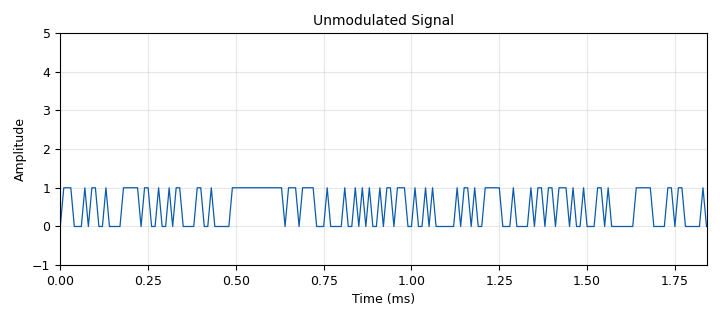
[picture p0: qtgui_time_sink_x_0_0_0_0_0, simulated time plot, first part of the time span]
options:
  parameters:
    author: Arsalan Ahmed
    generate_options: qt_gui
    id: PAM_Demodulator_BER_Example
    output_language: python
    title: Example of PAM Demodulator showing BER
  states: {}

blocks:
- name: Max
  id: variable_function_probe
  parameters:
    block_id: maximum
    function_name: level
    poll_rate: '10'
    value: '1'
  states: {}
- name: Maximum_value
  id: variable_qtgui_label
  parameters:
    type: real
    value: Max
  states: {}
- name: Min
  id: variable_function_probe
  parameters:
    block_id: minimum
    function_name: level
    poll_rate: '10'
    value: '0'
  states: {}
- name: Minimum_value
  id: variable_qtgui_label
  parameters:
    type: real
    value: Min
  states: {}
- name: max_magnitude
  id: variable
  parameters:
    value: '4'
  states: {}
- name: min_magnitude
  id: variable
  parameters:
    value: '2'
  states: {}
- name: modulation_order
  id: variable
  parameters:
    value: '8'
  states: {}
- name: samp_rate
  id: variable
  parameters:
    value: 100e3
  states: {}
- name: samples_per_symbol
  id: variable
  parameters:
    value: '5'
  states: {}
- name: window_size
  id: variable
  parameters:
    value: '400'
  states: {}
- name: analog_random_source_x_0
  id: analog_random_source_x
  parameters:
    max: '256'
    min: '0'
    num_samps: '1000'
    repeat: 'True'
    type: byte
  states: {}
- name: blocks_float_to_uchar_0
  id: blocks_float_to_uchar
  parameters: {}
  states: {}
- name: blocks_max_xx_0
  id: blocks_max_xx
  parameters:
    type: float
    vlen: window_size
    vlen_out: '1'
  states: {}
- name: blocks_min_xx_0
  id: blocks_min_xx
  parameters:
    type: float
    vlen: window_size
    vlen_out: '1'
  states: {}
- name: blocks_multiply_const_vxx_0
  id: blocks_multiply_const_vxx
  parameters:
    const: '1'
    type: float
  states: {}
- name: blocks_pack_k_bits_bb_0
  id: blocks_pack_k_bits_bb
  parameters:
    k: '8'
  states: {}
- name: blocks_stream_to_vector_0
  id: blocks_stream_to_vector
  parameters:
    num_items: window_size
    type: float
  states: {}
- name: blocks_stream_to_vector_0_0
  id: blocks_stream_to_vector
  parameters:
    num_items: window_size
    type: float
  states: {}
- name: blocks_throttle_0
  id: blocks_throttle
  parameters:
    samples_per_second: samp_rate
    type: float
  states: {}
- name: blocks_uchar_to_float_1
  id: blocks_uchar_to_float
  parameters: {}
  states: {}
- name: blocks_unpack_k_bits_bb_0
  id: blocks_unpack_k_bits_bb
  parameters:
    k: '8'
  states: {}
- name: fec_ber_bf_0
  id: fec_ber_bf
  parameters:
    test_mode: 'False'
  states: {}
- name: maximum
  id: blocks_probe_signal_x
  parameters:
    type: float
  states: {}
- name: minimum
  id: blocks_probe_signal_x
  parameters:
    type: float
  states: {}
- name: note_0
  id: note
  parameters:
    note: The input stream should contain the possible max and min values for accurate demodulation.
  states: {}
- name: owc_PAM_Demodulator_0
  id: owc_PAM_Demodulator
  parameters:
    max_mag: Max
    min_mag: Min
    mod_order: modulation_order
    samples_per_symbol: samples_per_symbol
  states: {}
- name: owc_PAM_Modulator_one_0
  id: owc_PAM_Modulator_one
  parameters:
    max_mag: max_magnitude
    min_mag: min_magnitude
    mod_order: modulation_order
    samples_per_symbol: samples_per_symbol
  states: {}
- name: owc_binary_to_decimal_mapper_0
  id: owc_binary_to_decimal_mapper
  parameters:
    mod_order: modulation_order
  states: {}
- name: owc_decimal_to_binary_mapper_0
  id: owc_decimal_to_binary_mapper
  parameters:
    mod_order: modulation_order
  states: {}
- name: qtgui_number_sink_0
  id: qtgui_number_sink
  parameters:
    graph_type: qtgui.NUM_GRAPH_HORIZ
    min: '-10'
    name: '"Bit Error Rate"'
    type: float
  states: {}
- name: qtgui_time_sink_x_0_0_0_0_0
  id: qtgui_time_sink_x
  parameters:
    name: Unmodulated Signal
    size: '1024'
    srate: samp_rate
    type: float
    ymax: '5'
  states: {}
- name: qtgui_time_sink_x_0_0_0_0_0_0
  id: qtgui_time_sink_x
  parameters:
    name: PAM Modulated Signal
    size: '1024'
    srate: samp_rate
    type: float
    ymax: '5'
  states: {}
- name: qtgui_time_sink_x_0_0_0_0_0_0_0
  id: qtgui_time_sink_x
  parameters:
    name: Demodulated Signal
    size: '1024'
    srate: samp_rate
    type: float
    ymax: '5'
  states: {}

connections:
- [analog_random_source_x_0, '0', blocks_unpack_k_bits_bb_0, '0']
- [analog_random_source_x_0, '0', fec_ber_bf_0, '0']
- [blocks_float_to_uchar_0, '0', blocks_pack_k_bits_bb_0, '0']
- [blocks_max_xx_0, '0', maximum, '0']
- [blocks_min_xx_0, '0', minimum, '0']
- [blocks_multiply_const_vxx_0, '0', blocks_stream_to_vector_0, '0']
- [blocks_multiply_const_vxx_0, '0', blocks_stream_to_vector_0_0, '0']
- [blocks_multiply_const_vxx_0, '0', owc_PAM_Demodulator_0, '0']
- [blocks_pack_k_bits_bb_0, '0', fec_ber_bf_0, '1']
- [blocks_stream_to_vector_0, '0', blocks_max_xx_0, '0']
- [blocks_stream_to_vector_0_0, '0', blocks_min_xx_0, '0']
- [blocks_throttle_0, '0', owc_binary_to_decimal_mapper_0, '0']
- [blocks_throttle_0, '0', qtgui_time_sink_x_0_0_0_0_0, '0']
- [blocks_uchar_to_float_1, '0', blocks_throttle_0, '0']
- [blocks_unpack_k_bits_bb_0, '0', blocks_uchar_to_float_1, '0']
- [fec_ber_bf_0, '0', qtgui_number_sink_0, '0']
- [owc_PAM_Demodulator_0, '0', owc_decimal_to_binary_mapper_0, '0']
- [owc_PAM_Modulator_one_0, '0', blocks_multiply_const_vxx_0, '0']
- [owc_PAM_Modulator_one_0, '0', qtgui_time_sink_x_0_0_0_0_0_0, '0']
- [owc_binary_to_decimal_mapper_0, '0', owc_PAM_Modulator_one_0, '0']
- [owc_decimal_to_binary_mapper_0, '0', blocks_float_to_uchar_0, '0']
- [owc_decimal_to_binary_mapper_0, '0', qtgui_time_sink_x_0_0_0_0_0_0_0, '0']

metadata:
  file_format: 1
